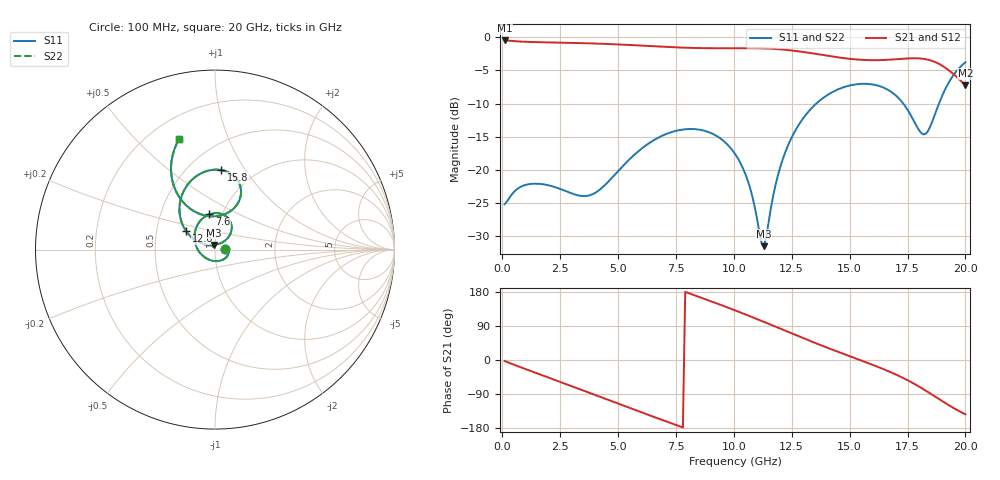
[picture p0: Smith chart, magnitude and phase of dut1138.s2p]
! Touchstone file exported from HFSS 2026.1.0
!  File:  C:/ffzhzh/LocalFiles/Ansys_Project_Files/temp_train_TSV_RDL_1138_1783308683_38704.aedt
!  Generated:  12:04:43 PM Jul  6, 2026
!  Design:  TSV_RDL
!  Project:  temp_train_TSV_RDL_1138_1783308683_38704
! Variables:
!  h_bsmrdl = 3.19um
!  h_ox = 20um
!  h_rdl = 5um
!  h_sub = 71.54um
!  h_tmrdl = 2.17um
!  h_tsv = 71.54um
!  h_via = 3um
!  l_bsmrdl = 889.42um
!  l_sub = 6510.84um
!  l_tmrdl = 834.05um
!  m_sub = 200um
!  pitch = 23.98um
!  r_tsv = 9.98um
!  s_tmrdl = 10um
!  w_bsmrdl = 22.97um
!  w_sub = 500um
!  w_tmrdl = 12.49um
!  x_tsv_center1 = 840.295um
!  x_tsv_center2 = 1752.685um
!  x_tsv_center3 = 2599.225um
!  x_tsv_center4 = 3511.615um
!  x_tsv_center5 = 4358.155um
!  x_tsv_center6 = 5270.545um
# GHz S MA R 50.000000
! Terminal data exported
! Port[1] = TM_RDL1_1_T1
! Port[2] = TM_RDL5_1_T1
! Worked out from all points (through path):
!   200 points, 100 MHz to 20 GHz, reference 50 ohm
!   highest |S21| = -0.49 dB at 100 MHz (marker M1); lowest = -7.2 dB at 20 GHz (marker M2)
!   group delay of S21, straight-line fit = 67.1 ps
!   lowest |S11| = -31.5 dB at 11.3 GHz (marker M3), VSWR 1.05, Z = 49.3 + j2.54 ohm
!   |S11| at or under -10 dB: start of sweep to 13.56 GHz; 17.32 GHz to 18.86 GHz (1.545 GHz wide, 8.54 % of centre)
!   |S22| runs from -31.6 to -3.8 dB; largest |S21 - S12| = 4.4e-14
!   S11 on the Smith chart (normalised r, x): 100 MHz: 1.12, +0.01; 7.6 GHz: 0.87, +0.36; 12.6 GHz: 0.71, +0.15; 15.8 GHz: 0.71, +0.79; 20 GHz: 0.32, +0.68
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0.1  0.05511 3.8  0.9452 -2.6  0.9452 -2.6  0.05511 3.8
! Gamma 0 0 0 0
! Port Impedance 50 0 50 0
0.9  0.07609 -2.9  0.9249 -21.5  0.9249 -21.5  0.07609 -2.9
2  0.07662 -32.2  0.9137 -46.4  0.9137 -46.4  0.07664 -32.2
3.5  0.06355 -98.6  0.9019 -80.7  0.9019 -80.7  0.0636 -98.6
5  0.09791 178.0  0.8824 -115.1  0.8824 -115.1  0.09794 178.0
6.8  0.1774 119.1  0.8495 -155.8  0.8495 -155.8  0.1774 119.1
7.6  0.1989 99.1  0.8369 -173.6  0.8369 -173.6  0.1989 99.1
8.8  0.1956 72.0  0.8267 159.7  0.8267 159.7  0.1956 72.0
10.1  0.1283 46.7  0.8266 129.9  0.8266 129.9  0.1283 46.7
10.7  0.07327 42.0  0.8265 115.5  0.8265 115.5  0.07322 41.9
11.2  0.02795 79.9  0.8237 103.1  0.8237 103.1  0.02774 79.7
11.3  0.02666 104.7  0.8227 100.6  0.8227 100.6  0.02642 104.7
11.9  0.09058 155.3  0.8125 85.4  0.8125 85.4  0.09048 155.4
12.6  0.1902 147.4  0.7907 67.7  0.7907 67.7  0.1901 147.5
13.4  0.2972 131.8  0.7557 47.7  0.7557 47.7  0.2972 131.8
14.5  0.4047 109.6  0.7053 21.6  0.7053 21.6  0.4046 109.7
15.8  0.4446 85.4  0.6721 -8.2  0.6721 -8.2  0.4445 85.4
16.7  0.3974 70.5  0.6766 -30.2  0.6766 -30.2  0.3974 70.5
17.5  0.2843 63.8  0.692 -53.3  0.692 -53.3  0.2843 63.8
18.2  0.185 91.1  0.6867 -77.6  0.6867 -77.6  0.1852 91.2
19.2  0.429 122.7  0.5778 -116.3  0.5778 -116.3  0.4292 122.7
20  0.6476 108.0  0.4342 -143.3  0.4342 -143.3  0.6477 108.0
